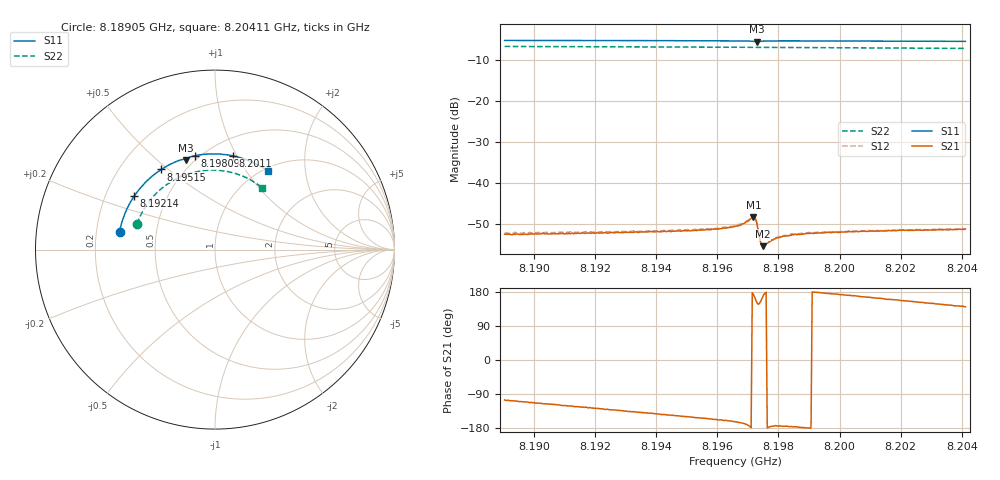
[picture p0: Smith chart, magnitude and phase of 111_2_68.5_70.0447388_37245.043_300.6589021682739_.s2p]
#  HZ  S  RI  R  50.00
! Rohde & Schwarz Vector Network Analyzer
! Rohde-Schwarz,ZNB20-2Port,1311601062101988,3.16
! Created: UTC 3/20/2024, 5:08:42 PM
! freq[Hz]  re:S11  im:S11  re:S21  im:S21  re:S12  im:S12  re:S22  im:S22
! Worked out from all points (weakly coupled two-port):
!   401 points, 8.18905 GHz to 8.20411 GHz, reference 50 ohm
!   highest |S21| = -48.32 dB at 8.19718 GHz (marker M1); lowest = -55.3 dB at 8.19748 GHz (marker M2)
!   lowest |S11| = -5.6 dB at 8.1973 GHz (marker M3), VSWR 3.19, Z = 22.8 + j31.2 ohm
!   |S11| at or under -10 dB: nowhere
!   |S22| runs from -7.3 to -6.8 dB; largest |S21 - S12| = 0.00023
!   S11 on the Smith chart (normalised r, x): 8.18905 GHz: 0.30, +0.08; 8.19214 GHz: 0.32, +0.27; 8.19515 GHz: 0.38, +0.47; 8.19809 GHz: 0.47, +0.69; 8.2011 GHz: 0.66, +0.97; 8.20411 GHz: 1.05, +1.27
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8.189047e9  -0.532 0.0997  -0.000634 -0.0023  -0.000757 -0.00235  -0.4346 0.143
8.191571e9  -0.4706 0.2649  -0.00141 -0.00204  -0.00145 -0.00205  -0.3684 0.2662
8.192136e9  -0.4496 0.2986  -0.00152 -0.00194  -0.00163 -0.00195  -0.3486 0.2906
8.194094e9  -0.3587 0.4017  -0.00202 -0.00155  -0.00218 -0.00153  -0.2673 0.3635
8.195149e9  -0.2995 0.4465  -0.00228 -0.00131  -0.00239 -0.00124  -0.2169 0.3939
8.196016e9  -0.2461 0.4771  -0.00254 -0.00102  -0.00265 -0.001  -0.1725 0.4139
8.196581e9  -0.2088 0.4937  -0.00285 -0.000882  -0.00292 -0.000822  -0.1425 0.4242
8.196807e9  -0.1927 0.4993  -0.00307 -0.000757  -0.00313 -0.000655  -0.1302 0.4276
8.197108e9  -0.1689 0.5031  -0.00371 -7.78e-05  -0.0038 7.04e-05  -0.1136 0.4317
8.197183e9  -0.1632 0.5012  -0.00381 0.000479  -0.00389 0.000693  -0.1094 0.4327
8.197259e9  -0.1608 0.498  -0.00339 0.00133  -0.00335 0.0015  -0.1053 0.4333
8.197296e9  -0.1614 0.4972  -0.00281 0.00155  -0.00284 0.00167  -0.1033 0.4337
8.197409e9  -0.1607 0.5034  -0.00174 0.000881  -0.00174 0.000963  -0.0972 0.4349
8.197485e9  -0.1563 0.508  -0.00166 0.000425  -0.0017 0.000465  -0.093 0.436
8.19756e9  -0.1508 0.5113  -0.00174 0.000113  -0.00175 0.000194  -0.0888 0.4368
8.197861e9  -0.1285 0.5192  -0.00207 -0.000205  -0.00212 -0.000125  -0.072 0.4393
8.198087e9  -0.1122 0.523  -0.00221 -0.000217  -0.00224 -0.00013  -0.0593 0.4406
8.198389e9  -0.0906 0.527  -0.00232 -0.000167  -0.00238 -7.36e-05  -0.0422 0.4423
8.199105e9  -0.0399 0.5326  -0.00245 1.22e-05  -0.00248 0.000121  -0.00162 0.4429
8.201101e9  0.1006 0.5222  -0.00253 0.000698  -0.0025 0.000826  0.1104 0.4251
8.201628e9  0.1369 0.5132  -0.00249 0.000919  -0.00245 0.000984  0.1391 0.4155
8.204115e9  0.2948 0.4376  -0.00214 0.00176  -0.00207 0.00182  0.2627 0.3442
